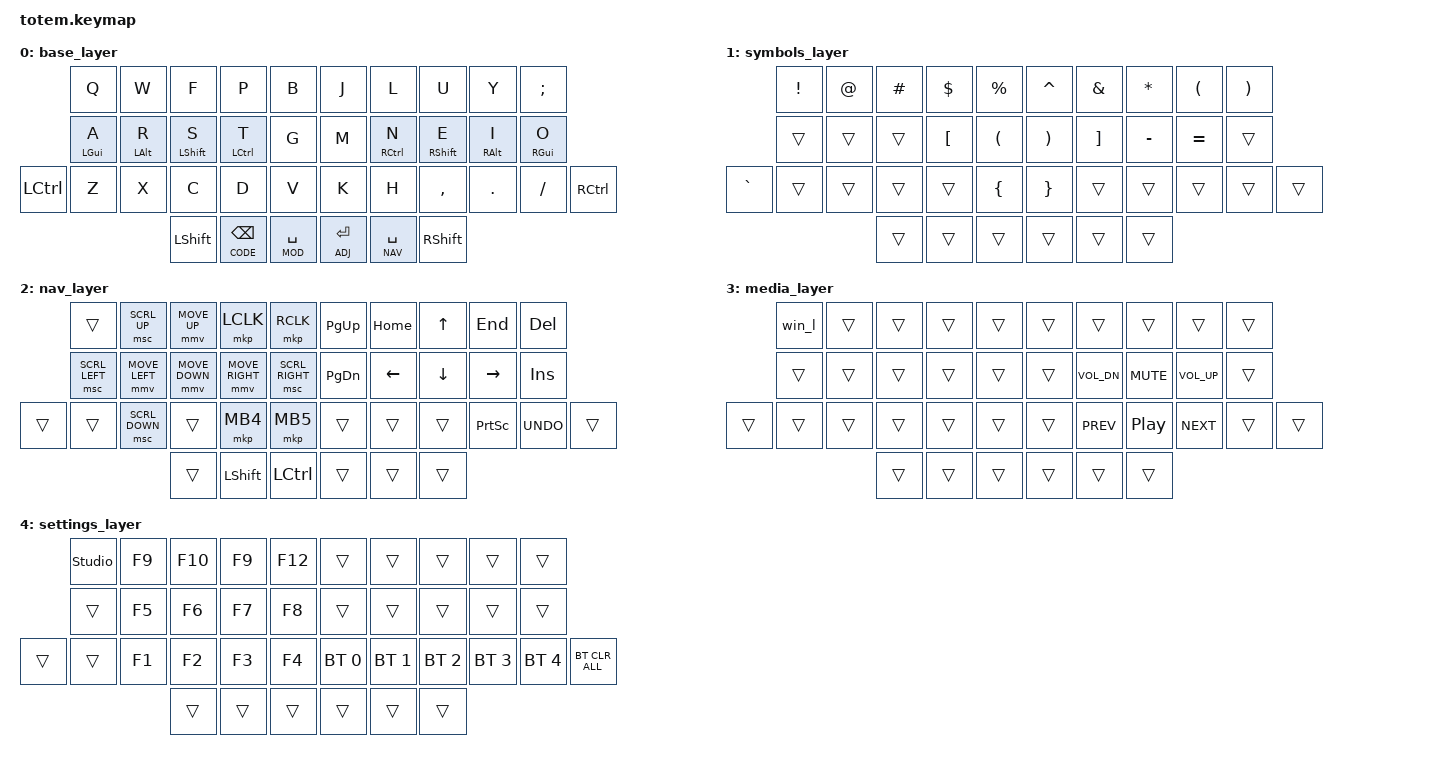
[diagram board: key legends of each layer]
#include <behaviors.dtsi>
#include <dt-bindings/zmk/keys.h>
#include <dt-bindings/zmk/bt.h>
#include <dt-bindings/zmk/mouse.h>
#include <dt-bindings/zmk/pointing.h>

#define BASE 0
#define CODE 1
#define NAV  2
#define MOD  3
#define ADJ  4

/ {
    behaviors {
        hml: homerow_mods_left {
            compatible = "zmk,behavior-hold-tap";
            #binding-cells = <2>;
            tapping-term-ms = <200>;
            quick-tap-ms = <175>;
            require-prior-idle-ms = <300>;
            flavor = "balanced";
            bindings = <&kp>, <&kp>;
        };

        hmr: homerow_mods_right {
            compatible = "zmk,behavior-hold-tap";
            #binding-cells = <2>;
            tapping-term-ms = <200>;
            quick-tap-ms = <175>;
            require-prior-idle-ms = <300>;
            flavor = "balanced";
            bindings = <&kp>, <&kp>;
        };

        td_bs_pipe: backslash_pipe {
            compatible = "zmk,behavior-hold-tap";
            #binding-cells = <2>;
            tapping-term-ms = <200>;
            flavor = "tap-preferred";
            bindings = <&kp>, <&kp>;
        };
    };

    combos {
        compatible = "zmk,combos";

        combo_esc {
            timeout-ms = <50>;
            key-positions = <0 1>;
            bindings = <&kp ESC>;
            layers = <0>;
        };

        combo_middle_click {
            bindings = <&mkp MCLK>;
            key-positions = <3 4>;
            layers = <2>;
            timeout-ms = <50>;
        };
    };

    macros {
        // mac_lock: mac_lock_screen {
        //     compatible = "zmk,behavior-macro";
        //     #binding-cells = <0>;
        //     bindings =
        //         <&macro_press &kp LGUI &kp LCTRL>,
        //         <&macro_pause_for_release>,
        //         <&macro_tap &kp Q>,
        //         <&macro_release &kp LGUI &kp LCTRL>;
        // };

        win_l: win_l {
            compatible = "zmk,behavior-macro";
            #binding-cells = <0>;
            bindings =
                <&macro_press &kp LGUI>,
                <&macro_tap &kp L>,
                <&macro_release &kp LGUI>;
        };
    };

    keymap {
        compatible = "zmk,keymap";

        base_layer {
            bindings = <
           &kp Q        &kp W        &kp F         &kp P          &kp B            &kp J          &kp L          &kp U         &kp Y        &kp SEMI
           &hml LGUI A  &hml LALT R  &hml LSHFT S  &hml LCTRL T   &kp G            &kp M          &hmr RCTRL N   &hmr RSHFT E  &hmr RALT I  &hmr RGUI O
&kp LCTRL  &kp Z        &kp X        &kp C         &kp D          &kp V            &kp K          &kp H          &kp COMMA     &kp DOT      &kp FSLH     &kp RCTRL
                                     &kp LSHFT     &lt CODE BSPC  &lt MOD SPACE    &lt ADJ ENTER  &lt NAV SPACE  &kp RSHFT
            >;
        };

        symbols_layer {
            bindings = <
           &kp EXCL  &kp AT  &kp HASH  &kp DOLLAR  &kp PRCNT    &kp CARET  &kp AMPS  &kp STAR   &kp LPAR   &kp RPAR
           &trans    &trans  &trans    &kp LBKT    &kp LPAR     &kp RPAR   &kp RBKT  &kp MINUS  &kp EQUAL  &trans
&kp GRAVE  &trans    &trans  &trans    &trans      &kp LBRC     &kp RBRC   &trans    &trans     &trans     &trans    &trans
                             &trans    &trans      &trans       &trans     &trans    &trans
            >;
        };

        nav_layer {
            bindings = <
        &trans          &msc SCRL_UP    &mmv MOVE_UP    &mkp LCLK        &mkp RCLK          &kp PG_UP  &kp HOME  &kp UP    &kp END    &kp DEL
        &msc SCRL_LEFT  &mmv MOVE_LEFT  &mmv MOVE_DOWN  &mmv MOVE_RIGHT  &msc SCRL_RIGHT    &kp PG_DN  &kp LEFT  &kp DOWN  &kp RIGHT  &kp INS
&trans  &trans          &msc SCRL_DOWN  &trans          &mkp MB4         &mkp MB5           &trans     &trans    &trans    &kp PSCRN  &kp K_UNDO  &trans
                                        &trans          &kp LSHFT        &kp LCTRL          &trans     &trans    &trans
            >;
        };

        media_layer {
            bindings = <
        &win_l     &trans     &trans  &trans  &trans    &trans  &trans        &trans      &trans        &trans
        &trans     &trans     &trans  &trans  &trans    &trans  &kp C_VOL_DN  &kp C_MUTE  &kp C_VOL_UP  &trans
&trans  &trans     &trans     &trans  &trans  &trans    &trans  &kp C_PREV    &kp C_PP    &kp C_NEXT    &trans  &trans
                              &trans  &trans  &trans    &trans  &trans        &trans
            >;
        };

        settings_layer {
            bindings = <
        &studio_unlock  &kp F9  &kp F10  &kp F9  &kp F12    &trans        &trans        &trans        &trans        &trans
        &trans          &kp F5  &kp F6   &kp F7  &kp F8     &trans        &trans        &trans        &trans        &trans
&trans  &trans          &kp F1  &kp F2   &kp F3  &kp F4     &bt BT_SEL 0  &bt BT_SEL 1  &bt BT_SEL 2  &bt BT_SEL 3  &bt BT_SEL 4  &bt BT_CLR_ALL
                                &trans   &trans  &trans     &trans        &trans        &trans
            >;
        };
    };
};

&sk {
    release-after-ms = <2000>;
    quick-release;
};
